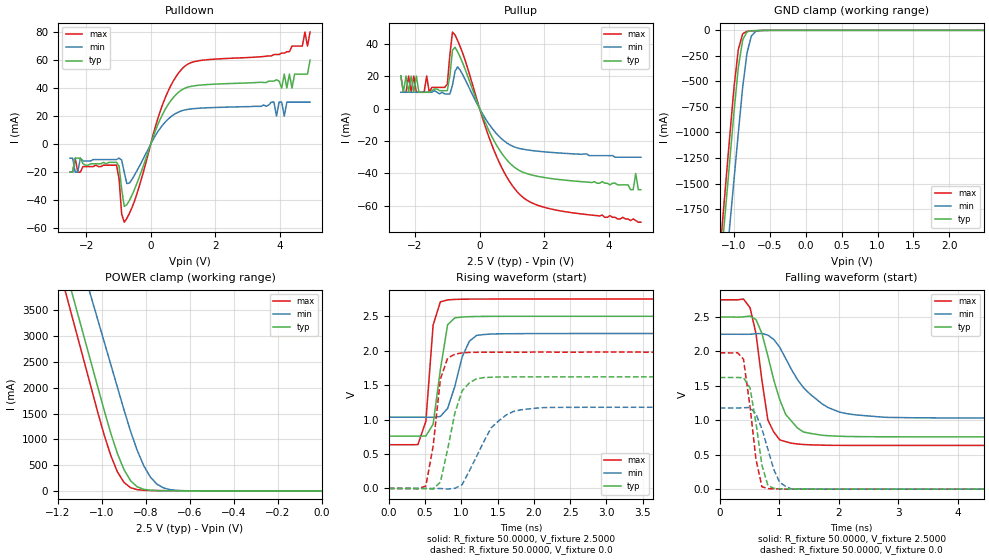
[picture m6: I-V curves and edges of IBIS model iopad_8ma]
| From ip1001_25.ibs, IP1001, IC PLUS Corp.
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|   Model iopad_8ma
[Model]  iopad_8ma
Model_type I/O
Polarity   Non-Inverting
Enable   Active-Low
Vinl =   0.8000V
Vinh =   1.8000V
Vmeas =  1.2500V
C_comp   0.3000pF   0.2400pF   0.3600pF
[Temperature Range]   27.0000   100.0000   0.0
[Voltage Range]   2.5000V   2.2500V   2.7500V
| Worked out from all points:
|   slope of the pulldown table from 0 to 0.375 V, typ, clamps not added: 17.3 ohm
|   slope of the pullup table from 0 to 0.375 V, typ, clamps not added: 21.9 ohm
|   GND clamp passes 1 mA (typ) near -0.63 V on its own axis
|   POWER clamp passes 1 mA (typ) near -0.57 V on its own axis
|   rising waveform, R_fixture 50.0000, V_fixture 2.5000: 20-80 % time 143ps typ, 207ps min, 90.8ps max; typ from 0.76 V to 2.5 V
|   rising waveform, R_fixture 50.0000, V_fixture 0.0: 20-80 % time 214ps typ, 375ps min, 137ps max; typ from 0 V to 1.62 V
|   falling waveform, R_fixture 50.0000, V_fixture 2.5000: 20-80 % time 356ps typ, 623ps min, 208ps max; typ from 2.5 V to 0.76 V
|   falling waveform, R_fixture 50.0000, V_fixture 0.0: 20-80 % time 174ps typ, 257ps min, 171ps max; typ from 1.62 V to 0 V
[Pulldown]
|Voltage   I(typ)   I(min)   I(max)
-2.5V     -20mA      -10mA      -20mA
-2.34V    -10mA      -20mA      -10mA
-1.06V    -13mA      -11mA      -15mA
-820mV    -44.43mA   -20mA      -55.72mA
-660mV    -40.17mA   -27.85mA   -49.44mA
380mV     21.82mA    13.89mA    28.96mA
1.02V     39.51mA    24.21mA    54.9mA
3.9V      46mA       20mA       64mA
4.06V     40mA       30mA       65mA
4.14V     50mA       20mA       65mA
4.38V     40mA       30mA       70mA
4.94V     60mA       30mA       80mA
[Pullup]
|Voltage   I(typ)   I(min)   I(max)
-2.44V    20mA       10mA       20mA
-2.36V    10mA       10mA       10mA
-2.28V    20mA       10mA       10mA
-2.2V     10mA       10mA       20mA
-2.12V    20mA       10mA       10mA
-2.04V    10mA       10mA       20mA
-1.08V    11mA       9mA        13mA
-840mV    35.96mA    14.4mA     47.06mA
-680mV    34.88mA    25.65mA    41.81mA
440mV     -19.57mA   -13.52mA   -25.43mA
1.24V     -38.25mA   -24.62mA   -52.82mA
5V        -50mA      -30mA      -70mA
[GND_clamp]
|Voltage   I(typ)   I(min)   I(max)
-2.5V     -12.93A    -12.87A    -12.97A
-1.18V    -2.249A    -2.828A    -2.033A
-1.12V    -1.763A    -2.371A    -1.535A
-1.06V    -1.278A    -1.914A    -1.038A
-1V       -792.5mA   -1.458A    -553.9mA
-940mV    -360.7mA   -1.001A    -186.7mA
-880mV    -94.64mA   -559.3mA   -34.17mA
-820mV    -15.98mA   -224.8mA   -9.643mA
-760mV    -4.328mA   -57.1mA    -5.898mA
-700mV    -2.122mA   -10.8mA    -4.108mA
-640mV    -1.103mA   -2.066mA   -2.655mA
2.48V     17.28pA    560.9nA    -93.93pA
[POWER_clamp]
|Voltage   I(typ)   I(min)   I(max)
-2.49V    24.9A      24.89A     24.94A
-1.17V    4.361A     5.529A     3.923A
-1.14V    3.894A     5.089A     3.445A
-1.11V    3.427A     4.649A     2.967A
-1.05V    2.493A     3.769A     2.012A
-960mV    1.115A     2.449A     684.3mA
-900mV    410.3mA    1.569A     163.2mA
-870mV    195.4mA    1.152A     62.28mA
-810mV    30.55mA    484.8mA    12.48mA
-750mV    6.57mA     129.6mA    6.615mA
-630mV    1.841mA    4.742mA    3.357mA
0V        80.13pA    246.2pA    118.4pA
[Ramp]
| variable   typ   min   max
dV/dt_r  0.9726/0.2135n   0.7074/0.3692n   1.1880/0.1371n
dV/dt_f  1.0441/0.3556n   0.7290/0.6132n   1.2690/0.2082n
R_load = 50.0000
[Rising Waveform]
R_fixture= 50.0000
V_fixture= 2.5000
V_fixture_min= 2.2500
V_fixture_max= 2.7500
|time   V(typ)   V(min)   V(max)
0s        759.8mV    1.035V     635mV
400ps     759.4mV    1.035V     636.2mV
510ps     761.6mV    1.035V     974.8mV
610ps     932.5mV    1.032V     2.372V
710ps     1.725V     1.046V     2.71V
810ps     2.377V     1.162V     2.738V
1.01ns    2.489V     1.909V     2.748V
1.11ns    2.494V     2.138V     2.749V
1.31ns    2.498V     2.235V     2.749V
10ns      2.5V       2.25V      2.75V
[Rising Waveform]
R_fixture= 50.0000
V_fixture= 0.0
V_fixture_min= 0.0
V_fixture_max= 0.0
|time   V(typ)   V(min)   V(max)
0s        0V         0V         0V
510ps     -1.76mV    -4.31uV    35.4mV
610ps     -10.32mV   310.5uV    611.1mV
710ps     92.11mV    -1.019mV   1.587V
810ps     567.6mV    -8.301mV   1.893V
910ps     1.096V     1.967mV    1.949V
1.01ns    1.418V     55.38mV    1.969V
1.41ns    1.615V     880.6mV    1.979V
1.82ns    1.62V      1.142V     1.979V
10ns      1.621V     1.179V     1.98V
[Falling Waveform]
R_fixture= 50.0000
V_fixture= 2.5000
V_fixture_min= 2.2500
V_fixture_max= 2.7500
|time   V(typ)   V(min)   V(max)
0s        2.5V       2.25V      2.75V
400ps     2.502V     2.249V     2.761V
510ps     2.515V     2.25V      2.637V
610ps     2.463V     2.258V     2.261V
810ps     1.934V     2.237V     1.004V
1.01ns    1.299V     2.06V      716.3mV
1.21ns    985.8mV    1.733V     666.9mV
1.72ns    783.3mV    1.24V      639.3mV
2.32ns    763.3mV    1.076V     635.5mV
10ns      759.8mV    1.035V     635mV
[Falling Waveform]
R_fixture= 50.0000
V_fixture= 0.0
V_fixture_min= 0.0
V_fixture_max= 0.0
|time   V(typ)   V(min)   V(max)
0s        1.621V     1.179V     1.98V
300ps     1.621V     1.179V     1.982V
400ps     1.62V      1.182V     1.888V
510ps     1.471V     1.187V     1.197V
610ps     960.8mV    1.091V     434mV
710ps     349.6mV    877.4mV    34.91mV
810ps     54.35mV    580.2mV    8.085mV
1.01ns    5.611mV    98.06mV    2.626mV
1.21ns    2.452mV    2.666mV    956.1uV
10ns      -1.567uV   2.095uV    5.21uV
